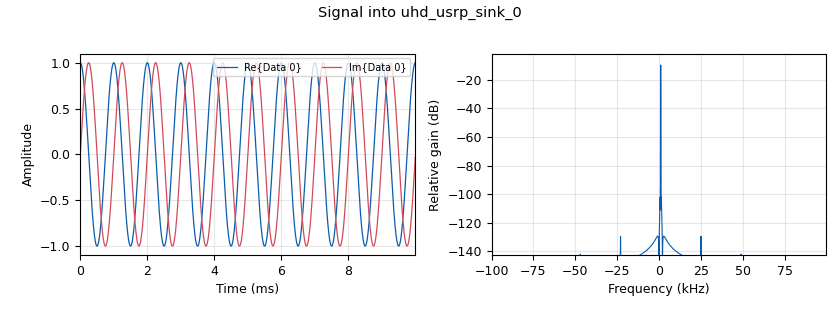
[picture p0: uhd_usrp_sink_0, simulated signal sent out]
options:
  parameters:
    author: Sebastian Pabon & Edson Rey
    copyright: UIS
    generate_options: qt_gui
    id: PracticaUSRP
    output_language: python
    title: Practica2
  states: {}

blocks:
- name: A
  id: variable_qtgui_range
  parameters:
    label: Amplitud Señal TX
    start: '0'
    step: '100e-6'
    stop: '1'
    value: '1'
  states: {}
- name: GTX
  id: variable_qtgui_range
  parameters:
    label: Ganancia GTX
    start: '0'
    step: '100e-6'
    stop: '1'
    value: '1'
  states: {}
- name: fc
  id: variable_qtgui_range
  parameters:
    label: Frecuencia Portadora
    start: 50e6
    step: 1e6
    stop: 2.2e9
    value: 50e6
  states: {}
- name: samp_rate
  id: variable
  parameters:
    value: 200e3
  states: {}
- name: analog_sig_source_x_0
  id: analog_sig_source_x
  parameters:
    amp: '1'
    freq: '1000'
    offset: '0'
    phase: '0'
    samp_rate: samp_rate
    type: complex
    waveform: analog.GR_COS_WAVE
  states: {}
- name: uhd_usrp_sink_0
  id: uhd_usrp_sink
  parameters:
    ant0: '"TX/RX"'
    center_freq0: '0'
    gain0: '0'
    samp_rate: samp_rate
    sync: pc_clock
    type: fc32
  states: {}

connections:
- [analog_sig_source_x_0, '0', uhd_usrp_sink_0, '0']

metadata:
  file_format: 1
